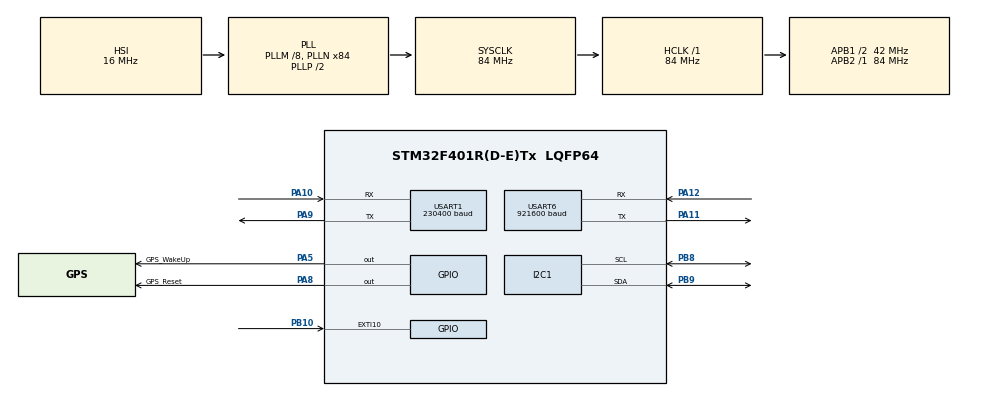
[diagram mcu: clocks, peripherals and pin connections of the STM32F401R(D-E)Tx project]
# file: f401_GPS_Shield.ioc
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Dma.Request0=USART1_TX
Dma.Request1=USART6_TX
Dma.Request2=USART1_RX
Dma.USART1_RX.2.Direction=DMA_PERIPH_TO_MEMORY
Dma.USART1_RX.2.FIFOMode=DMA_FIFOMODE_DISABLE
Dma.USART1_RX.2.Instance=DMA2_Stream2
Dma.USART1_RX.2.MemDataAlignment=DMA_MDATAALIGN_BYTE
Dma.USART1_RX.2.MemInc=DMA_MINC_ENABLE
Dma.USART1_RX.2.Mode=DMA_CIRCULAR
Dma.USART1_RX.2.PeriphDataAlignment=DMA_PDATAALIGN_BYTE
Dma.USART1_RX.2.PeriphInc=DMA_PINC_DISABLE
Dma.USART1_RX.2.Priority=DMA_PRIORITY_VERY_HIGH
Dma.USART1_TX.0.Direction=DMA_MEMORY_TO_PERIPH
Dma.USART1_TX.0.FIFOMode=DMA_FIFOMODE_DISABLE
Dma.USART1_TX.0.Instance=DMA2_Stream7
Dma.USART1_TX.0.MemDataAlignment=DMA_MDATAALIGN_BYTE
Dma.USART1_TX.0.MemInc=DMA_MINC_ENABLE
Dma.USART1_TX.0.Mode=DMA_NORMAL
Dma.USART1_TX.0.PeriphDataAlignment=DMA_PDATAALIGN_BYTE
Dma.USART1_TX.0.PeriphInc=DMA_PINC_DISABLE
Dma.USART1_TX.0.Priority=DMA_PRIORITY_MEDIUM
Dma.USART6_TX.1.Direction=DMA_MEMORY_TO_PERIPH
Dma.USART6_TX.1.FIFOMode=DMA_FIFOMODE_DISABLE
Dma.USART6_TX.1.Instance=DMA2_Stream6
Dma.USART6_TX.1.MemDataAlignment=DMA_MDATAALIGN_BYTE
Dma.USART6_TX.1.MemInc=DMA_MINC_ENABLE
Dma.USART6_TX.1.Mode=DMA_NORMAL
Dma.USART6_TX.1.PeriphDataAlignment=DMA_PDATAALIGN_BYTE
Dma.USART6_TX.1.PeriphInc=DMA_PINC_DISABLE
Dma.USART6_TX.1.Priority=DMA_PRIORITY_VERY_HIGH
I2C1.I2C_Mode=I2C_Fast
Mcu.Family=STM32F4
Mcu.Name=STM32F401R(D-E)Tx
Mcu.Package=LQFP64
NVIC.DMA2_Stream2_IRQn=true\:0\:0\:false\:false\:true\:false\:true
NVIC.DMA2_Stream6_IRQn=true\:0\:0\:false\:false\:true\:false\:true
NVIC.DMA2_Stream7_IRQn=true\:0\:0\:false\:false\:true\:false\:true
NVIC.EXTI15_10_IRQn=true\:0\:0\:false\:false\:true\:true\:true
NVIC.PriorityGroup=NVIC_PRIORITYGROUP_4
NVIC.USART1_IRQn=true\:0\:0\:false\:false\:true\:true\:true
NVIC.USART6_IRQn=true\:0\:0\:false\:false\:true\:true\:true
PA10.Mode=Asynchronous
PA10.Signal=USART1_RX
PA11.Mode=Asynchronous
PA11.Signal=USART6_TX
PA12.Mode=Asynchronous
PA12.Signal=USART6_RX
PA13.Mode=Serial_Wire
PA13.Signal=SYS_JTMS-SWDIO
PA14.Mode=Serial_Wire
PA14.Signal=SYS_JTCK-SWCLK
PA5.GPIO_Label=GPS_WakeUp
PA5.Signal=GPIO_Output
PA8.GPIO_Label=GPS_Reset
PA8.PinState=GPIO_PIN_SET
PA8.Signal=GPIO_Output
PA9.Mode=Asynchronous
PA9.Signal=USART1_TX
PB10.GPIO_PuPd=GPIO_PULLDOWN
PB10.Signal=GPXTI10
PB8.Mode=I2C
PB8.Signal=I2C1_SCL
PB9.Mode=I2C
PB9.Signal=I2C1_SDA
ProjectManager.HeapSize=0x200
ProjectManager.StackSize=0x400
ProjectManager.TargetToolchain=STM32CubeIDE
RCC.48MHZClocksFreq_Value=42000000
RCC.AHBFreq_Value=84000000
RCC.APB1CLKDivider=RCC_HCLK_DIV2
RCC.APB1Freq_Value=42000000
RCC.APB1TimFreq_Value=84000000
RCC.APB2Freq_Value=84000000
RCC.APB2TimFreq_Value=84000000
RCC.CortexFreq_Value=84000000
RCC.HCLKFreq_Value=84000000
RCC.HSE_VALUE=25000000
RCC.HSI_VALUE=16000000
RCC.LSE_VALUE=32768
RCC.PLLM=8
RCC.PLLN=84
RCC.SYSCLKFreq_VALUE=84000000
RCC.SYSCLKSource=RCC_SYSCLKSOURCE_PLLCLK
RCC.VCOOutputFreq_Value=168000000
USART1.BaudRate=230400
USART1.VirtualMode=VM_ASYNC
USART6.BaudRate=921600
USART6.VirtualMode=VM_ASYNC
board=custom

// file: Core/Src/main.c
/* USER CODE BEGIN Header */
/**
 ******************************************************************************
 * @file           : main.c
 * @brief          : Main program body
 ******************************************************************************
 * @attention
 *
 * <h2><center>&copy; Copyright (c) 2020 STMicroelectronics.
 * All rights reserved.</center></h2>
 *
 * This software component is licensed by ST under BSD 3-Clause license,
 * the "License"; You may not use this file except in compliance with the
 * License. You may obtain a copy of the License at:
 *                        opensource.org/licenses/BSD-3-Clause
 *
 ******************************************************************************
 */

/*
 * 	crc skaiciavimui:
 * 	https://nmeachecksum.eqth.net
 *
 */

/* USER CODE END Header */
#include "main.h"

/* USER CODE BEGIN Includes */
#include <stdlib.h>
#include <string.h>
#include <stdio.h>

/* USER CODE END Includes */

/* USER CODE BEGIN PD */
#define _GPS_UART_BUFFER_SIZE 2000

/* USER CODE END PD */

I2C_HandleTypeDef hi2c1;

UART_HandleTypeDef huart1;
UART_HandleTypeDef huart6;
DMA_HandleTypeDef hdma_usart1_tx;
DMA_HandleTypeDef hdma_usart1_rx;
DMA_HandleTypeDef hdma_usart6_tx;

/* USER CODE BEGIN PV */

struct {
	uint8_t PPS :1;
	uint8_t unused :7;
} g_flags;

uint8_t g_GPS_UART_buffer[_GPS_UART_BUFFER_SIZE];
/* USER CODE END PV */

void SystemClock_Config(void);
static void MX_GPIO_Init(void);
static void MX_DMA_Init(void);
static void MX_USART6_UART_Init(void);
static void MX_USART1_UART_Init(void);
static void MX_I2C1_Init(void);
/* USER CODE BEGIN PFP */

void HAL_GPIO_EXTI_Callback(uint16_t GPIO_Pin);

/* USER CODE END PFP */

/* USER CODE BEGIN 0 */
// Jutiklio LSM6DSL registru duomenys ir adresai
#define LSM6DSL_ADDRESS 0xD7
#define LSM6DSL_ACC_ON_REG 0x10 // acc mode (turns on acc)
#define LSM6DSL_CTRL3_C 0x12    // control register for incrementing
#define LSM6DSL_CTRL6_C 0x15    // control register for acc modes
#define LSM6DSL_OUTX_L_G 0x22   // first register of gyr and acc reading
uint8_t reg_increment[1] = { 0x04 };	         // register increment
uint8_t acc_gyr_on_values[2] = { 0x50, 0x50 };
uint8_t acc_gyr_modes[2] = { 0x10, 0x80 };     // low/normal modes for acc and gyr
uint8_t data_acc_gyr[12];                    // data received from acc sensor
/* USER CODE END 0 */

int main(void) {

	/* MCU Configuration--------------------------------------------------------*/

	/* Reset of all peripherals, Initializes the Flash interface and the Systick. */
	HAL_Init();

	/* Configure the system clock */
	SystemClock_Config();

	/* Initialize all configured peripherals */
	MX_GPIO_Init();
	MX_DMA_Init();
	MX_USART6_UART_Init();
	MX_USART1_UART_Init();
	MX_I2C1_Init();
	/* USER CODE BEGIN 2 */

	//============================== Jutiklio nuskaitymas ==============================
	HAL_I2C_Mem_Write(&hi2c1, LSM6DSL_ADDRESS, LSM6DSL_ACC_ON_REG, 1, acc_gyr_on_values, 2, 10);  // Ijungiamas jutiklis
	HAL_I2C_Mem_Write(&hi2c1, LSM6DSL_ADDRESS, LSM6DSL_CTRL3_C, 1, reg_increment, 1, 10);  // Ijungiamas automatinis registru inkrementavimas
	HAL_I2C_Mem_Write(&hi2c1, LSM6DSL_ADDRESS, LSM6DSL_CTRL6_C, 1, acc_gyr_modes, 2, 10);  // Nustatomas jutiklio rezimas
	HAL_I2C_Mem_Read(&hi2c1, LSM6DSL_ADDRESS, LSM6DSL_OUTX_L_G, 1, data_acc_gyr, 12, 10);  // Nuskaitomos jutiklio reiksmes

	while (!g_flags.PPS);	//palaukti PPS signalo pertraukties veliaveles ir NMEA zinutes pradzios
	g_flags.PPS = 0;  //isvalyti PPS signalo veliavele
	memset(g_GPS_UART_buffer, 0, sizeof g_GPS_UART_buffer); 	//Isvalyti masyva
	HAL_UART_Receive(&huart1, g_GPS_UART_buffer, _GPS_UART_BUFFER_SIZE, 150); 	// Nuskaityti GPS duomenis
	HAL_UART_Transmit_DMA(&huart6, g_GPS_UART_buffer, strlen((char*) g_GPS_UART_buffer)); 	// Issiusti gauta paketa per uart DMA

	/* USER CODE END 2 */

	/* Infinite loop */
	while (1) {

	}
}

void SystemClock_Config(void) {
	RCC_OscInitTypeDef RCC_OscInitStruct = { 0 };
	RCC_ClkInitTypeDef RCC_ClkInitStruct = { 0 };

	/** Configure the main internal regulator output voltage
	 */
	__HAL_RCC_PWR_CLK_ENABLE();
	__HAL_PWR_VOLTAGESCALING_CONFIG(PWR_REGULATOR_VOLTAGE_SCALE2);
	/** Initializes the RCC Oscillators according to the specified parameters
	 * in the RCC_OscInitTypeDef structure.
	 */
	RCC_OscInitStruct.OscillatorType = RCC_OSCILLATORTYPE_HSI;
	RCC_OscInitStruct.HSIState = RCC_HSI_ON;
	RCC_OscInitStruct.HSICalibrationValue = RCC_HSICALIBRATION_DEFAULT;
	RCC_OscInitStruct.PLL.PLLState = RCC_PLL_ON;
	RCC_OscInitStruct.PLL.PLLSource = RCC_PLLSOURCE_HSI;
	RCC_OscInitStruct.PLL.PLLM = 8;
	RCC_OscInitStruct.PLL.PLLN = 84;
	RCC_OscInitStruct.PLL.PLLP = RCC_PLLP_DIV2;
	RCC_OscInitStruct.PLL.PLLQ = 4;
	if (HAL_RCC_OscConfig(&RCC_OscInitStruct) != HAL_OK) {
		Error_Handler();
	}
	/** Initializes the CPU, AHB and APB buses clocks
	 */
	RCC_ClkInitStruct.ClockType = RCC_CLOCKTYPE_HCLK | RCC_CLOCKTYPE_SYSCLK | RCC_CLOCKTYPE_PCLK1 | RCC_CLOCKTYPE_PCLK2;
	RCC_ClkInitStruct.SYSCLKSource = RCC_SYSCLKSOURCE_PLLCLK;
	RCC_ClkInitStruct.AHBCLKDivider = RCC_SYSCLK_DIV1;
	RCC_ClkInitStruct.APB1CLKDivider = RCC_HCLK_DIV2;
	RCC_ClkInitStruct.APB2CLKDivider = RCC_HCLK_DIV1;

	if (HAL_RCC_ClockConfig(&RCC_ClkInitStruct, FLASH_LATENCY_2) != HAL_OK) {
		Error_Handler();
	}
}

static void MX_I2C1_Init(void) {

	hi2c1.Instance = I2C1;
	hi2c1.Init.ClockSpeed = 400000;
	hi2c1.Init.DutyCycle = I2C_DUTYCYCLE_2;
	hi2c1.Init.OwnAddress1 = 0;
	hi2c1.Init.AddressingMode = I2C_ADDRESSINGMODE_7BIT;
	hi2c1.Init.DualAddressMode = I2C_DUALADDRESS_DISABLE;
	hi2c1.Init.OwnAddress2 = 0;
	hi2c1.Init.GeneralCallMode = I2C_GENERALCALL_DISABLE;
	hi2c1.Init.NoStretchMode = I2C_NOSTRETCH_DISABLE;
	if (HAL_I2C_Init(&hi2c1) != HAL_OK) {
		Error_Handler();
	}

}

static void MX_USART1_UART_Init(void) {

	huart1.Instance = USART1;
	huart1.Init.BaudRate = 230400;
	huart1.Init.WordLength = UART_WORDLENGTH_8B;
	huart1.Init.StopBits = UART_STOPBITS_1;
	huart1.Init.Parity = UART_PARITY_NONE;
	huart1.Init.Mode = UART_MODE_TX_RX;
	huart1.Init.HwFlowCtl = UART_HWCONTROL_NONE;
	huart1.Init.OverSampling = UART_OVERSAMPLING_16;
	if (HAL_UART_Init(&huart1) != HAL_OK) {
		Error_Handler();
	}

}

static void MX_USART6_UART_Init(void) {

	huart6.Instance = USART6;
	huart6.Init.BaudRate = 921600;
	huart6.Init.WordLength = UART_WORDLENGTH_8B;
	huart6.Init.StopBits = UART_STOPBITS_1;
	huart6.Init.Parity = UART_PARITY_NONE;
	huart6.Init.Mode = UART_MODE_TX_RX;
	huart6.Init.HwFlowCtl = UART_HWCONTROL_NONE;
	huart6.Init.OverSampling = UART_OVERSAMPLING_16;
	if (HAL_UART_Init(&huart6) != HAL_OK) {
		Error_Handler();
	}

}

static void MX_DMA_Init(void) {

	/* DMA controller clock enable */
	__HAL_RCC_DMA2_CLK_ENABLE();

	/* DMA interrupt init */
	/* DMA2_Stream2_IRQn interrupt configuration */
	HAL_NVIC_SetPriority(DMA2_Stream2_IRQn, 0, 0);
	HAL_NVIC_EnableIRQ(DMA2_Stream2_IRQn);
	/* DMA2_Stream6_IRQn interrupt configuration */
	HAL_NVIC_SetPriority(DMA2_Stream6_IRQn, 0, 0);
	HAL_NVIC_EnableIRQ(DMA2_Stream6_IRQn);
	/* DMA2_Stream7_IRQn interrupt configuration */
	HAL_NVIC_SetPriority(DMA2_Stream7_IRQn, 0, 0);
	HAL_NVIC_EnableIRQ(DMA2_Stream7_IRQn);

}

static void MX_GPIO_Init(void) {
	GPIO_InitTypeDef GPIO_InitStruct = { 0 };

	/* GPIO Ports Clock Enable */
	__HAL_RCC_GPIOA_CLK_ENABLE();
	__HAL_RCC_GPIOB_CLK_ENABLE();

	/*Configure GPIO pin Output Level */
	HAL_GPIO_WritePin(GPS_WakeUp_GPIO_Port, GPS_WakeUp_Pin, GPIO_PIN_RESET);

	/*Configure GPIO pin Output Level */
	HAL_GPIO_WritePin(GPS_Reset_GPIO_Port, GPS_Reset_Pin, GPIO_PIN_SET);

	/*Configure GPIO pins : GPS_WakeUp_Pin GPS_Reset_Pin */
	GPIO_InitStruct.Pin = GPS_WakeUp_Pin | GPS_Reset_Pin;
	GPIO_InitStruct.Mode = GPIO_MODE_OUTPUT_PP;
	GPIO_InitStruct.Pull = GPIO_NOPULL;
	GPIO_InitStruct.Speed = GPIO_SPEED_FREQ_LOW;
	HAL_GPIO_Init(GPIOA, &GPIO_InitStruct);

	/*Configure GPIO pin : PB10 */
	GPIO_InitStruct.Pin = GPIO_PIN_10;
	GPIO_InitStruct.Mode = GPIO_MODE_IT_RISING;
	GPIO_InitStruct.Pull = GPIO_PULLDOWN;
	HAL_GPIO_Init(GPIOB, &GPIO_InitStruct);

	/* EXTI interrupt init*/
	HAL_NVIC_SetPriority(EXTI15_10_IRQn, 0, 0);
	HAL_NVIC_EnableIRQ(EXTI15_10_IRQn);

}

/* USER CODE BEGIN 4 */

void HAL_GPIO_EXTI_Callback(uint16_t GPIO_Pin) {
	if (GPIO_Pin == GPIO_PIN_10) {
		// Isstatyti PPS signalo pertraukties veliavele
		g_flags.PPS = 1;
	}
}

/* USER CODE END 4 */

void Error_Handler(void) {
}

/************************ (C) COPYRIGHT STMicroelectronics *****END OF FILE****/
